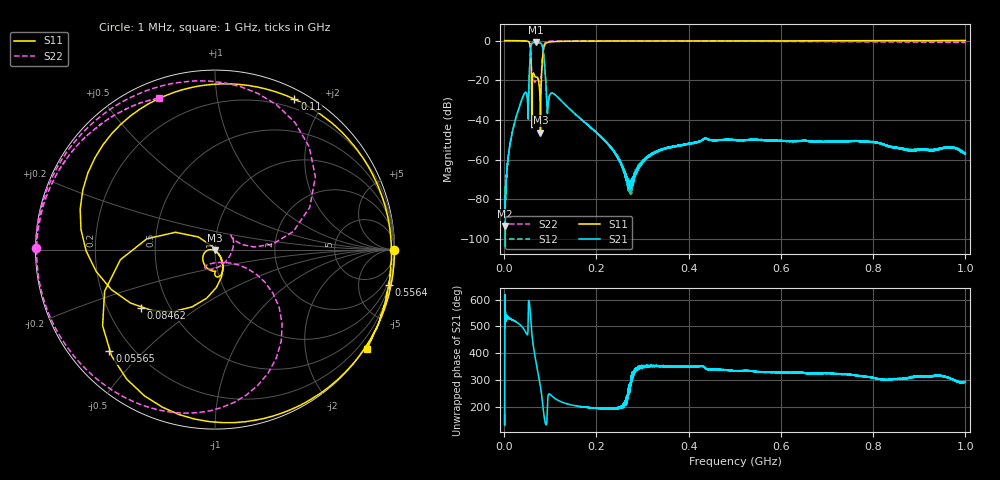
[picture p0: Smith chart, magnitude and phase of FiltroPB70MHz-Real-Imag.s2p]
# Hz S RI R 50
! CMT, S5048, 17087083, 18.1.5/2
! Date: 07/03/2018 15:10:09
! Data: Format (Calibration Info)
! Freq  S11: Re/Im (F2)  S21: Re/Im (F2)  S12: Re/Im (F2)  S22: Re/Im (F2)
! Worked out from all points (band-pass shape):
!   10000 points, 1 MHz to 1 GHz, reference 50 ohm
!   highest |S21| = -0.89 dB at 68.84 MHz (marker M1); lowest = -93.7 dB at 1.1 MHz (marker M2)
!   |S21| within 3 dB of the highest: 57.69 MHz to 83.89 MHz (26.2 MHz wide, 37 % of centre)
!   lowest |S11| = -46.4 dB at 78.73 MHz (marker M3), VSWR 1.01, Z = 49.8 - j0.412 ohm
!   |S11| at or under -10 dB: 58.23 MHz to 82.89 MHz (24.67 MHz wide, 35 % of centre)
!   |S22| runs from -22.7 to 0.0 dB; largest |S21 - S12| = 0.0014
!   S11 on the Smith chart (normalised r, x): 1 MHz: open; 55.65 MHz: 0.12, -0.40; 84.62 MHz: 0.35, -0.31; 110 MHz: 0.10, +1.65; 556.4 MHz: 0.60, -9.95; 1 GHz: -0.06, -3.32
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1000000  1 -0.00235  -2.33e-05 4.37e-06  3.57e-06 2.26e-05  -0.9976 0.00865
1099910  0.9999 -0.00366  -1.3e-05 1.59e-05  -1.71e-05 -8.06e-06  -0.9978 0.00984
1.548695e7  0.9787 -0.2063  -0.00356 0.000881  -0.00358 0.000829  -0.9794 0.1861
3.906571e7  0.7344 -0.6735  -0.0258 0.0233  -0.0259 0.0232  -0.7802 0.6031
4.935644e7  0.2432 -0.947  -0.0148 0.0408  -0.0149 0.0407  -0.3598 0.893
5.565077e7  -0.5879 -0.5665  -0.2314 -0.1511  -0.2312 -0.1511  0.4607 0.6881
6.30441e7  0.018 -0.1525  0.3092 0.8275  0.3084 0.8275  0.1004 0.0643
6.883888e7  0.00368 -0.1198  0.8902 0.1482  0.8898 0.1489  0.00874 -0.1019
7.872997e7  -0.00246 -0.00414  0.0855 -0.8633  0.0867 -0.8629  0.0246 -0.0718
8.462466e7  -0.4121 -0.3229  -0.5506 -0.1197  -0.5507 -0.1201  0.3743 -0.4611
8.952025e7  -0.6832 0.4842  -0.0927 0.0874  -0.0928 0.0874  -0.0685 -0.9052
9.481548e7  -0.2501 0.8677  -0.0121 -0.0165  -0.0121 -0.0165  -0.443 -0.8517
1.100018e8  0.4421 0.8384  -0.0278 -0.0338  -0.0277 -0.0338  -0.801 -0.5742
1.6755e8  0.8887 0.3967  -0.0097 -0.00344  -0.00969 -0.00342  -0.9852 -0.138
2.399847e8  0.9633 0.1793  -0.00143 -0.000384  -0.00148 -0.00032  -0.9883 0.0839
2.723555e8  0.9739 0.1164  1.99e-05 -0.000277  -4.35e-05 -0.000149  -0.978 0.1529
3.34e8  0.982 0.0228  0.00166 -0.000229  0.00163 -0.000311  -0.9497 0.2667
5.0055e8  0.9752 -0.1479  0.00277 -0.00138  0.00276 -0.00141  -0.8315 0.5
5.563996e8  0.9684 -0.196  0.00276 -0.00156  0.00268 -0.00156  -0.7839 0.5614
6.67e8  0.9494 -0.2887  0.00225 -0.0017  0.00231 -0.00165  -0.6772 0.6656
8.3355e8  0.9073 -0.4205  0.00111 -0.0018  0.00109 -0.00186  -0.4965 0.7829
1e9  0.8431 -0.5575  0.000568 -0.00131  0.000591 -0.00129  -0.3091 0.845
